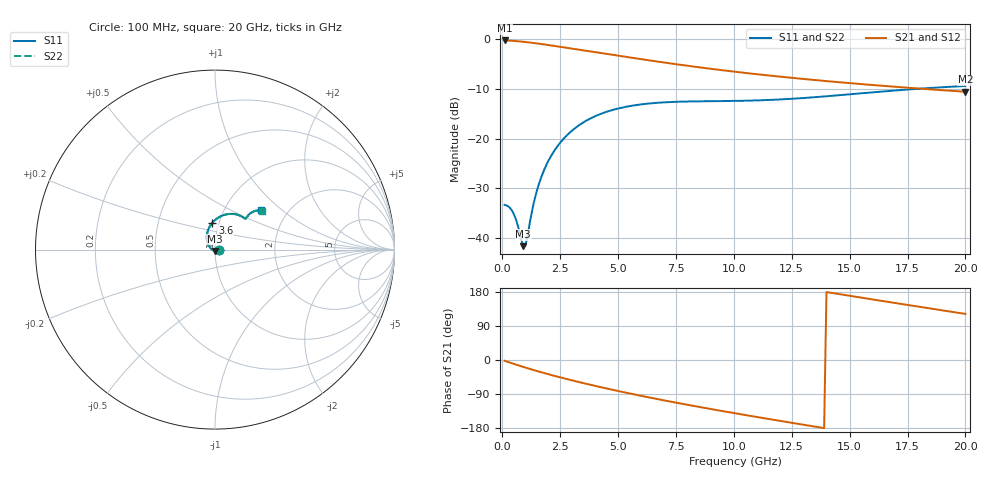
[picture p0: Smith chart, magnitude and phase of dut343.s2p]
! Touchstone file exported from HFSS 2024.1.0
!  File:  C:/UserFiles/LocalFiles/RDL_TSV_Batchsim/temp_RDL_TSV_343_1779635629.aedt
!  Generated:  11:32:00 PM May 24, 2026
!  Design:  RDL_TSV
!  Project:  temp_RDL_TSV_343_1779635629
!  Setup:  Setup1
!  Solution:  Sweep
! Variables:
!  dtsv = 13.43um
!  hbump = 3um
!  htsv = 85.91um
!  ldown = 404.31um
!  lrdl = 477.48um
!  p = 40
!  p1 = 41.15um
!  rhole = 10um
!  subl = 3122.85um
!  t = 450um
!  tdown = 2.73um
!  trdl = 3.38um
!  viad = 10um
!  wdown = 17.71um
!  wrdl = 15.72um
!  xbump = 18um
# GHz S MA R 50.000000
! Terminal data exported
! Port[1] = TM1_1_T1
! Port[2] = TM1_4_T1
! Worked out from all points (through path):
!   200 points, 100 MHz to 20 GHz, reference 50 ohm
!   highest |S21| = -0.19 dB at 100 MHz (marker M1); lowest = -10.5 dB at 20 GHz (marker M2)
!   group delay of S21, straight-line fit = 31.4 ps
!   lowest |S11| = -41.7 dB at 900 MHz (marker M3), VSWR 1.02, Z = 50 - j0.82 ohm
!   |S11| at or under -10 dB: start of sweep to 17.79 GHz
!   |S22| runs from -41.8 to -9.4 dB; largest |S21 - S12| = 1.3e-14
!   S11 on the Smith chart (normalised r, x): 100 MHz: 1.04, -0.00; 3.6 GHz: 0.93, +0.28; 20 GHz: 1.48, +0.73
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0.1  0.02142 -3.8  0.9779 -2.1  0.9779 -2.1  0.02142 -3.8
! Gamma 0 0 0 0
! Port Impedance 50 0 50 0
0.3  0.02033 -13.2  0.9739 -6.2  0.9739 -6.2  0.02032 -13.2
0.5  0.01729 -26.6  0.9674 -10.3  0.9674 -10.3  0.01727 -26.6
0.7  0.01253 -47.4  0.959 -14.2  0.959 -14.2  0.0125 -47.4
0.9  0.008206 -91.9  0.949 -18.1  0.949 -18.1  0.008172 -92.1
1  0.008314 -127.0  0.9435 -20.0  0.9435 -20.0  0.008299 -127.4
1.3  0.0194 173.3  0.9254 -25.5  0.9254 -25.5  0.01945 173.1
1.4  0.02461 164.6  0.919 -27.3  0.919 -27.3  0.02467 164.4
1.6  0.03589 152.1  0.9058 -30.9  0.9058 -30.9  0.03597 152.0
1.9  0.05397 138.9  0.8853 -36.0  0.8853 -36.0  0.05409 138.8
2.2  0.07251 128.6  0.8646 -41.0  0.8646 -41.0  0.07266 128.5
2.6  0.09682 117.3  0.8371 -47.4  0.8371 -47.4  0.097 117.2
3.5  0.1456 97.5  0.7775 -61.0  0.7775 -61.0  0.1458 97.4
3.6  0.1503 95.6  0.7711 -62.4  0.7711 -62.4  0.1506 95.5
5  0.2011 74.5  0.6868 -81.8  0.6868 -81.8  0.2015 74.4
6.8  0.2306 57.6  0.5942 -104.4  0.5942 -104.4  0.2311 57.5
8.4  0.2376 49.4  0.5276 -122.7  0.5276 -122.7  0.2381 49.3
10.1  0.2401 45.9  0.4711 -141.1  0.4711 -141.1  0.2405 45.7
11.7  0.2463 45.5  0.4286 -157.7  0.4286 -157.7  0.2466 45.2
13.4  0.2606 46.0  0.3917 -174.8  0.3917 -174.8  0.2605 45.7
16.7  0.3023 44.7  0.3369 153.0  0.3369 153.0  0.3018 44.5
20  0.3394 40.2  0.297 121.6  0.297 121.6  0.3385 40.0
